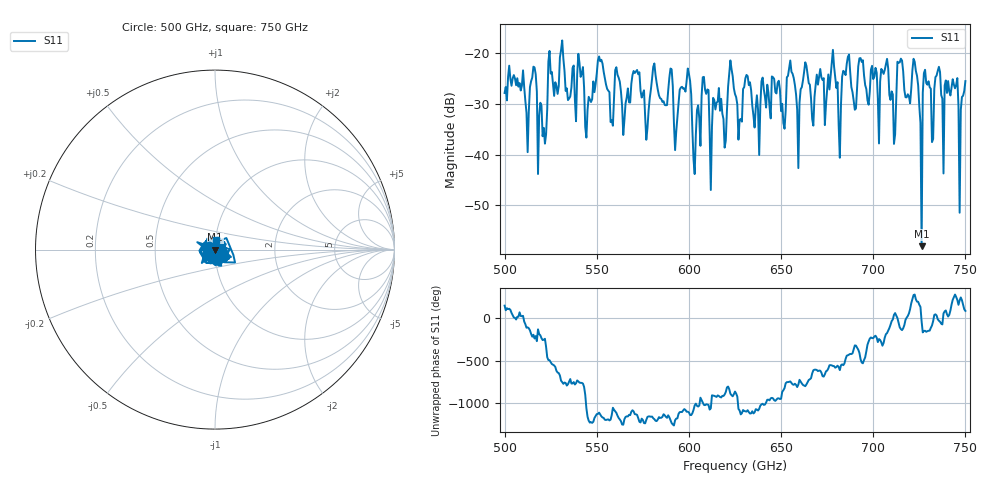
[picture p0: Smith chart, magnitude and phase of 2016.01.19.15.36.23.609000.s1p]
!Created with skrf (http://scikit-rf.org).
# GHz S RI R 50.0
!freq ReS11 ImS11
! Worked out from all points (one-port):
!   401 points, 500 GHz to 750 GHz, reference 50 ohm
!   lowest |S11| = -58.0 dB at 726.2 GHz (marker M1), VSWR 1.00, Z = 50.1 - j0.0806 ohm
!   |S11| at or under -10 dB: start of sweep to end of sweep
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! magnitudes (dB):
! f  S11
! 500 GHz  -27.9
! 512.5 GHz  -39.5
! 515.6 GHz  -22.7
! 521.9 GHz  -37.8
! 525 GHz  -24.1
! 531.2 GHz  -17.5
! 545 GHz  -31.2
! 551.9 GHz  -21.6
! 557.5 GHz  -33.6
! 562.5 GHz  -25.7
! 577.5 GHz  -34.8
! 590 GHz  -23.1
! 593.8 GHz  -32.5
! 625 GHz  -28.1
! 651.2 GHz  -33.8
! 656.2 GHz  -24.1
! 659.4 GHz  -42.6
! 663.1 GHz  -21.8
! 667.5 GHz  -34.3
! 678.1 GHz  -19.4
! 681.2 GHz  -34.2
! 687.5 GHz  -23.8
! 718.8 GHz  -28.1
! 722.5 GHz  -21.7
! 726.2 GHz  -58.0
! 728.8 GHz  -25.9
! 747.5 GHz  -31.2
! 750 GHz  -25.5
